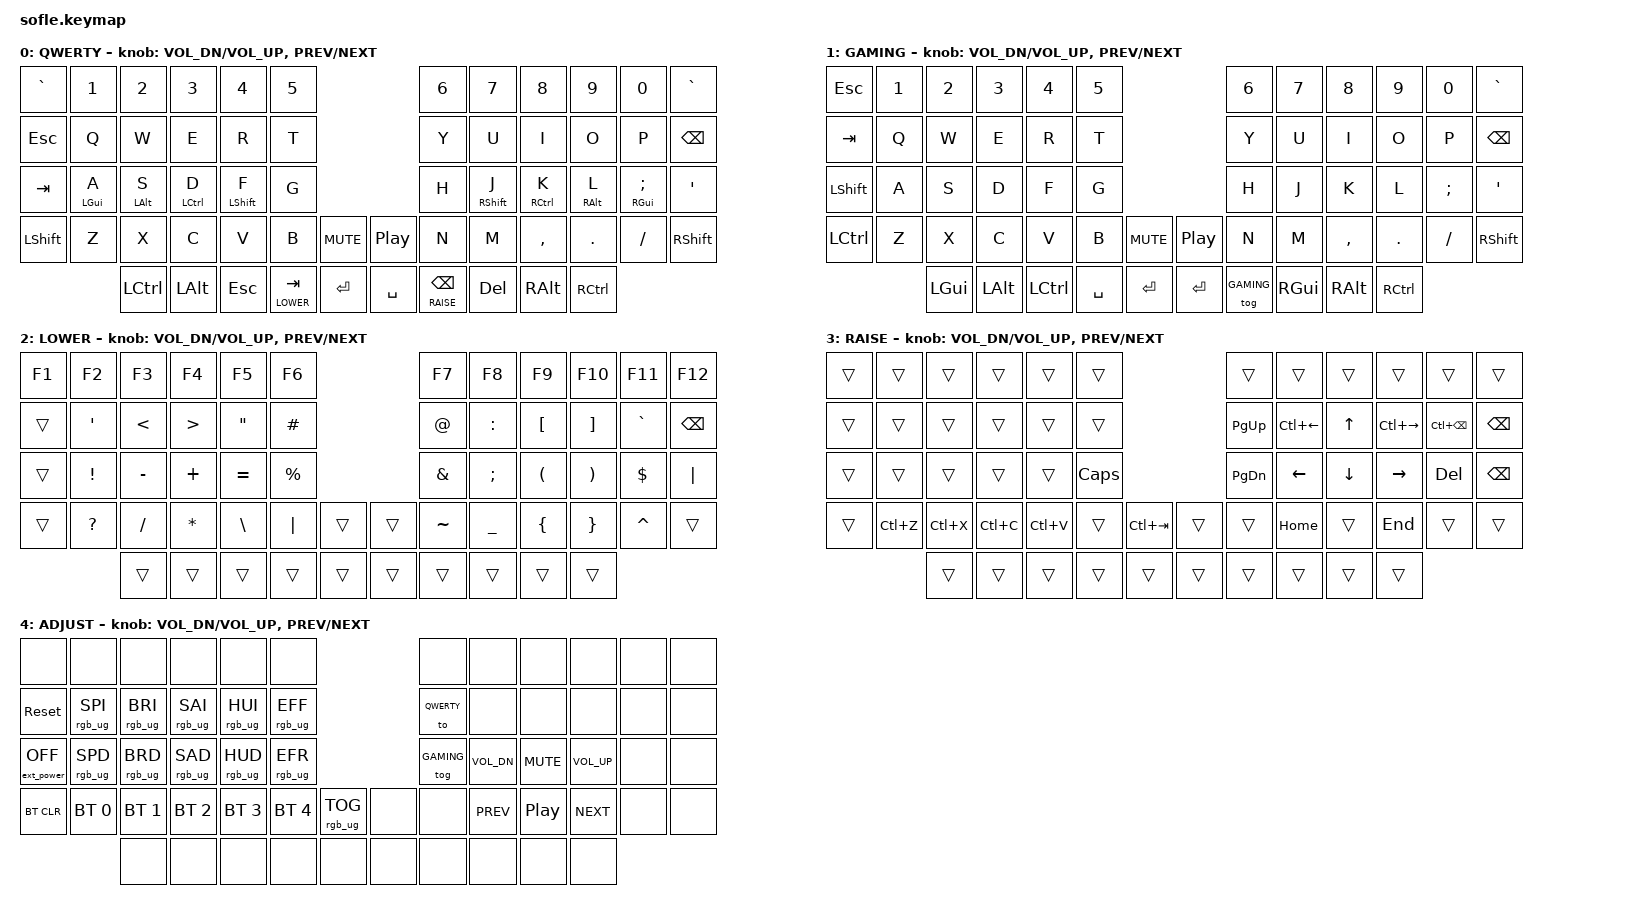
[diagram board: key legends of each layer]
/*
My personal config now.
*/

#include <behaviors.dtsi>
#include <dt-bindings/zmk/keys.h>
#include <dt-bindings/zmk/bt.h>
#include <dt-bindings/zmk/rgb.h>
#include <dt-bindings/zmk/ext_power.h>

// Layer definitions
#define QWERTY  0
#define GAMING  1
#define LOWER   2
#define RAISE   3
#define ADJUST  4
/ {

    // -------------------------------------------------------------------------
    // Activate ADJUST layer by pressing LOWER and RAISE simultaneously
    // -------------------------------------------------------------------------
    conditional_layers {
        compatible = "zmk,conditional-layers";
        adjust_layer {
            if-layers = <LOWER RAISE >;
            then-layer = <ADJUST>;
        };
    };

    // -------------------------------------------------------------------------
    // Custom behaviors
    // -------------------------------------------------------------------------
    behaviors {

        /*
         * Home row mod hold-tap
         *
         * Using "balanced" flavor — this feels closest to QMK's default HRM
         * behavior. The key point: if you press AND RELEASE another key while
         * holding this key within tapping-term, it resolves as the MOD.
         * If you just tap it quickly alone, it sends the tap keycode.
         *
         * tapping-term-ms: how long until a hold is registered (ms)
         * quick-tap-ms:    if you tap within this window after a prior tap,
         *                  it sends the tap keycode immediately (good for
         *                  repeated letters like 'ss', 'ff' etc.)
         *
         * These values are a solid starting point — tune to taste.
         */
        hm: homerow_mods {
            compatible = "zmk,behavior-hold-tap";
            #binding-cells = <2>;
            tapping-term-ms = <200>;
            quick-tap-ms = <125>;
            flavor = "balanced";
            bindings = <&kp>, <&kp>;
        };
    };

    keymap {
        compatible = "zmk,keymap";

        // ---------------------------------------------------------------------
        // QWERTY - Base layer
        // ,-----------------------------------------.                    ,-----------------------------------------.
        // |  `   |   1  |   2  |   3  |   4  |   5  |                    |   6  |   7  |   8  |   9  |   0  |  `   |
        // |------+------+------+------+------+------|                    |------+------+------+------+------+------|
        // | ESC  |   Q  |   W  |   E  |   R  |   T  |                    |   Y  |   U  |   I  |   O  |   P  | Bspc |
        // |------+------+------+------+------+------|                    |------+------+------+------+------+------|
        // | Tab  | GUI/A| ALT/S| CTL/D| SFT/F|   G  |-------.    ,-------|   H  | SFT/J| CTL/K| ALT/L| GUI/;|  '   |
        // |------+------+------+------+------+------|  MUTE |    | MPLAY |------+------+------+------+------+------|
        // |LShift|   Z  |   X  |   C  |   V  |   B  |-------|    |-------|   N  |   M  |   ,  |   .  |   /  |RShift|
        // `-----------------------------------------/       /     \      \-----------------------------------------'
        //               | LCTL | LALT | LGUI | LOWER| ENTER |     | SPACE| RAISE| RGUI | RALT | RCTL |
        // ---------------------------------------------------------------------
        qwerty_layer {
            display-name = "QWERTY";
            bindings = <
&kp GRAVE  &kp N1       &kp N2       &kp N3        &kp N4        &kp N5                           &kp N6    &kp N7        &kp N8        &kp N9        &kp N0           &kp GRAVE
&kp ESC    &kp Q        &kp W        &kp E         &kp R         &kp T                            &kp Y     &kp U         &kp I         &kp O         &kp P            &kp BSPC
&kp TAB    &hm LGUI A   &hm LALT S   &hm LCTRL D   &hm LSHFT F   &kp G                            &kp H     &hm RSHFT J   &hm RCTRL K   &hm RALT L    &hm RGUI SEMI    &kp SQT
&kp LSHFT  &kp Z        &kp X        &kp C         &kp V         &kp B    &kp C_MUTE   &kp C_PP   &kp N     &kp M         &kp COMMA     &kp DOT       &kp FSLH         &kp RSHFT
                        &kp LCTRL    &kp LALT      &kp ESC  &lt LOWER TAB &kp  RET     &kp SPACE &lt RAISE BSPC &kp DEL   &kp RALT  &kp RCTRL
            >;
            sensor-bindings = <&inc_dec_kp C_VOL_DN C_VOL_UP &inc_dec_kp C_PREV C_NEXT>;
        };

        // ---------------------------------------------------------------------
        // GAMING - toggled from ADJUST layer
        // ,-----------------------------------------.                    ,-----------------------------------------.
        // | ESC  |   1  |   2  |   3  |   4  |   5  |                    |   6  |   7  |   8  |   9  |   0  |  `   |
        // |------+------+------+------+------+------|                    |------+------+------+------+------+------|
        // | Tab  |   Q  |   W  |   E  |   R  |   T  |                    |   Y  |   U  |   I  |   O  |   P  | Bspc |
        // |------+------+------+------+------+------|                    |------+------+------+------+------+------|
        // |LShift|   A  |   S  |   D  |   F  |   G  |-------.    ,-------|   H  |   J  |   K  |   L  |   ;  |  '   |
        // |------+------+------+------+------+------|  MUTE |    | MPLAY |------+------+------+------+------+------|
        // |LCtrl |   Z  |   X  |   C  |   V  |   B  |-------|    |-------|   N  |   M  |   ,  |   .  |   /  |RShift|
        // `-----------------------------------------/       /     \      \-----------------------------------------'
        //               | LGUI | LALT | LCTL | SPC  | ENTER |     | ENTER|QWERTY| RGUI | RALT | RCTL |
        // ---------------------------------------------------------------------
        gaming_layer {
            display-name = "GAMING";
            bindings = <
&kp ESC    &kp N1  &kp N2    &kp N3    &kp N4    &kp N5                          &kp N6   &kp N7    &kp N8     &kp N9    &kp N0    &kp GRAVE
&kp TAB    &kp Q   &kp W     &kp E     &kp R     &kp T                           &kp Y    &kp U     &kp I      &kp O     &kp P     &kp BSPC
&kp LSHFT  &kp A   &kp S     &kp D     &kp F     &kp G                           &kp H    &kp J     &kp K      &kp L     &kp SEMI  &kp SQT
&kp LCTRL  &kp Z   &kp X     &kp C     &kp V     &kp B  &kp C_MUTE  &kp C_PP    &kp N    &kp M     &kp COMMA  &kp DOT   &kp FSLH  &kp RSHFT
                   &kp LGUI  &kp LALT  &kp LCTRL &kp SPACE  &kp RET &kp RET     &tog GAMING &kp RGUI &kp RALT &kp RCTRL
            >;
            sensor-bindings = <&inc_dec_kp C_VOL_DN C_VOL_UP &inc_dec_kp C_PREV C_NEXT>;
        };

        // ---------------------------------------------------------------------
        // LOWER - Symbols and F-keys
        // ,-----------------------------------------.                    ,-----------------------------------------.
        // |  F1  |  F2  |  F3  |  F4  |  F5  |  F6  |                    |  F7  |  F8  |  F9  |  F10 |  F11 |  F12 |
        // |------+------+------+------+------+------|                    |------+------+------+------+------+------|
        // |      |   '  |   <  |   >  |   "  |   #  |                    |   @  |   :  |   [  |   ]  |   `  | Bspc |
        // |------+------+------+------+------+------|                    |------+------+------+------+------+------|
        // |      |   !  |   -  |   +  |   =  |   %  |-------.    ,-------|   &  |   ;  |   (  |   )  |   $  |   |  |
        // |------+------+------+------+------+------|       |    |       |------+------+------+------+------+------|
        // |      |   ?  |   /  |   *  |   \  |   |  |-------|    |-------|   ~  |   _  |   {  |   }  |   ^  |      |
        // `-----------------------------------------/       /     \      \-----------------------------------------'
        //               |      |      |      |      |       |     |      |      |      |      |      |
        // ---------------------------------------------------------------------
        symbol_layer {
            display-name = "LOWER";
            bindings = <
&kp F1     &kp F2     &kp F3    &kp F4    &kp F5    &kp F6                        &kp F7    &kp F8    &kp F9    &kp F10   &kp F11   &kp F12
&trans     &kp SQT    &kp LT    &kp GT    &kp DQT   &kp HASH                      &kp AT    &kp COLON &kp LBKT  &kp RBKT  &kp GRAVE &kp BSPC
&trans     &kp EXCL   &kp MINUS &kp PLUS  &kp EQUAL &kp PRCNT                     &kp AMPS  &kp SEMI  &kp LPAR  &kp RPAR  &kp DLLR  &kp PIPE
&trans     &kp QMARK  &kp FSLH  &kp ASTRK &kp BSLH  &kp PIPE  &trans    &trans   &kp TILDE &kp UNDER &kp LBRC  &kp RBRC  &kp CARET &trans
                      &trans    &trans    &trans    &trans    &trans      &trans   &trans    &trans    &trans    &trans
            >;
            sensor-bindings = <&inc_dec_kp C_VOL_DN C_VOL_UP &inc_dec_kp C_PREV C_NEXT>;
        };

        // ---------------------------------------------------------------------
        // RAISE - Navigation
        // ,-----------------------------------------.                    ,-----------------------------------------.
        // |      |      |      |      |      |      |                    |      |      |      |      |      |      |
        // |------+------+------+------+------+------|                    |------+------+------+------+------+------|
        // |      |      |      |      |      |      |                    | PgUp |PrvWrd|  Up  |NxtWrd| DLine| Bspc |
        // |------+------+------+------+------+------|                    |------+------+------+------+------+------|
        // |      | LAlt | LCtl |LSHft |      | Caps |-------.    ,-------| PgDn | Left | Down | Right|  Del | Bspc |
        // |------+------+------+------+------+------|CtlTab |    |       |------+------+------+------+------+------|
        // |      | Undo |  Cut | Copy | Paste|      |-------|    |-------|      | Home |      |  End |      |      |
        // `-----------------------------------------/       /     \      \-----------------------------------------'
        //               |      |      |      |      |       |     |      |      |      |      |      |
        // ---------------------------------------------------------------------
        navigation_layer {
            display-name = "RAISE";
            bindings = <
&trans  &trans    &trans     &trans      &trans       &trans                             &trans     &trans         &trans    &trans          &trans         &trans
&trans  &trans    &trans     &trans      &trans       &trans                             &kp PG_UP  &kp LC(LEFT)   &kp UP    &kp LC(RIGHT)   &kp LC(BSPC)   &kp BSPC
&trans  &trans    &trans     &trans      &trans       &kp CLCK                           &kp PG_DN  &kp LEFT       &kp DOWN  &kp RIGHT       &kp DEL        &kp BSPC
&trans  &kp LC(Z) &kp LC(X)  &kp LC(C)   &kp LC(V)    &trans   &kp LC(TAB)   &trans      &trans     &kp HOME       &trans    &kp END         &trans         &trans
                  &trans     &trans      &trans       &trans   &trans        &trans      &trans     &trans         &trans    &trans
            >;
            // Left encoder: Ctrl+Tab / Ctrl+Shift+Tab (tab switching) on RAISE
            sensor-bindings = <&inc_dec_kp C_VOL_DN C_VOL_UP &inc_dec_kp C_PREV C_NEXT>;
        };

// TODO -- all other layers here, before adjust layer



        // ---------------------------------------------------------------------
        // ADJUST - RGB, BT, layer switching
        // ,-----------------------------------------.                    ,-----------------------------------------.
        // |      |      |      |      |      |      |                    |      |      |      |      |      |      |
        // |------+------+------+------+------+------|                    |------+------+------+------+------+------|
        // | Reset| spd+ | val+ | sat+ | hue+ | eff+ |                    |QWERTY|      |      |      |      |      |
        // |------+------+------+------+------+------|                    |------+------+------+------+------+------|
        // |ExtPwr| spd- | val- | sat- | hue- | eff- |-------.    ,-------|GAMING| VOLD | MUTE | VOLU |      |      |
        // |------+------+------+------+------+------|RGBtog |    |       |------+------+------+------+------+------|
        // |BT_CLR| BT0  | BT1  | BT2  | BT3  | BT4  |-------|    |-------|      | PREV | PLAY | NEXT |      |      |
        // `-----------------------------------------/       /     \      \-----------------------------------------'
        //               |      |      |      |      |       |     |      |      |      |      |      |
        // ---------------------------------------------------------------------
        adjust_layer {
            display-name = "ADJUST";
            bindings = <
&none           &none            &none            &none            &none            &none                                    &none       &none       &none     &none       &none  &none
&sys_reset      &rgb_ug RGB_SPI  &rgb_ug RGB_BRI  &rgb_ug RGB_SAI  &rgb_ug RGB_HUI  &rgb_ug RGB_EFF                          &to QWERTY  &none       &none     &none       &none  &none
&ext_power EP_OFF &rgb_ug RGB_SPD &rgb_ug RGB_BRD &rgb_ug RGB_SAD  &rgb_ug RGB_HUD  &rgb_ug RGB_EFR                          &tog GAMING &kp C_VOL_DN &kp C_MUTE &kp C_VOL_UP &none &none
&bt BT_CLR      &bt BT_SEL 0     &bt BT_SEL 1     &bt BT_SEL 2     &bt BT_SEL 3     &bt BT_SEL 4  &rgb_ug RGB_TOG  &none    &none       &kp C_PREV  &kp C_PP  &kp C_NEXT  &none  &none
                                 &none            &none            &none            &none          &none            &none    &none       &none       &none     &none
            >;
            sensor-bindings = <&inc_dec_kp C_VOL_DN C_VOL_UP &inc_dec_kp C_PREV C_NEXT>;
        };

    };
};
